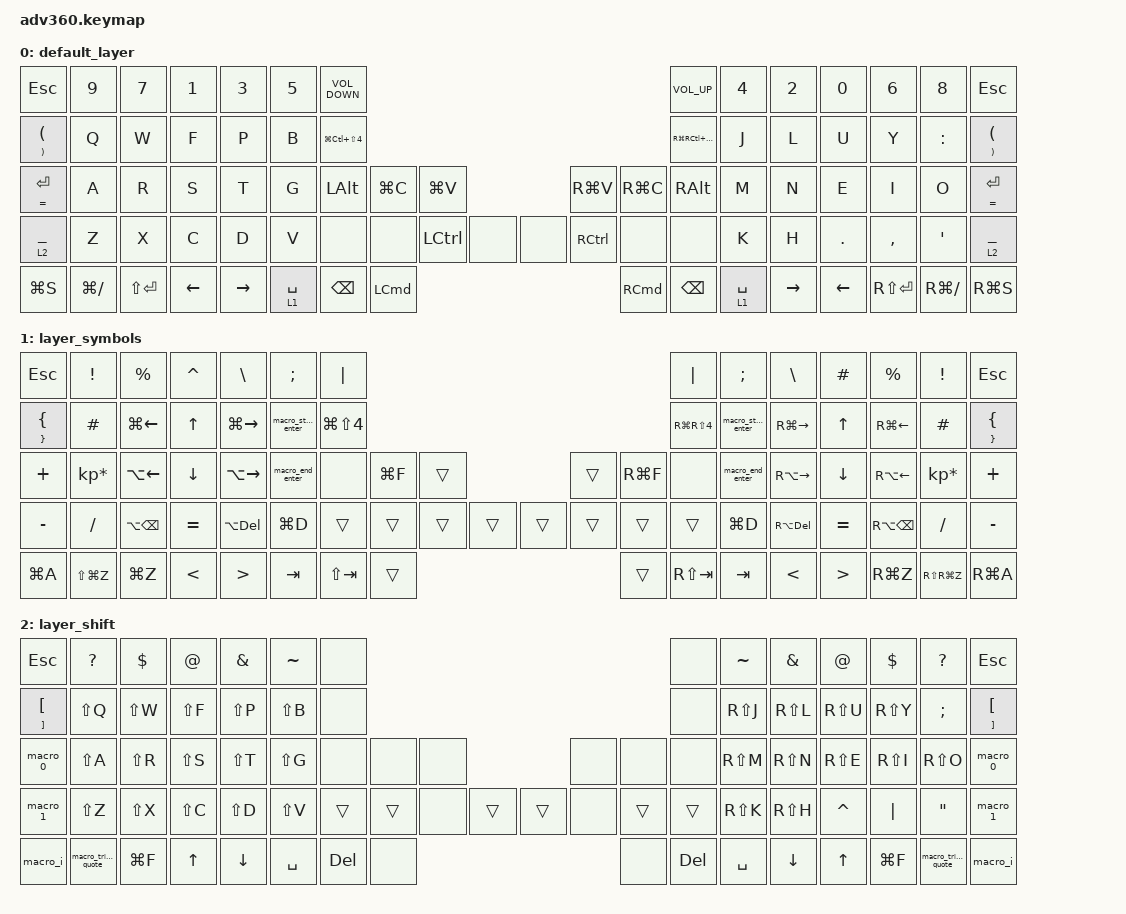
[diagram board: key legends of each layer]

/*
 * Copyright (c) 2020 The ZMK Contributors
 *
 * SPDX-License-Identifier: MIT
 */


/* THIS FILE WAS GENERATED!
 *
 * This file was generated automatically. You may or may not want to
 * edit it directly.
 */

#include <behaviors.dtsi>
#include <dt-bindings/zmk/keys.h>
#include <dt-bindings/zmk/bt.h>
#include <dt-bindings/zmk/rgb.h>
#include <dt-bindings/zmk/backlight.h>

/ {
  behaviors {
    #include "macros.dtsi"

    htl: hold_tap_layer {
         compatible = "zmk,behavior-hold-tap";
         label = "HOLD_TAP_LAYER";
         #binding-cells = <2>;
         tapping-term-ms = <150>;
         quick_tap_ms = <150>;
         flavor = "tap-preferred";
         bindings = <&mo>, <&kp>;
    };
    
    ht: hold_tap {
        compatible = "zmk,behavior-hold-tap";
        label = "HOLD_TAP";
        #binding-cells = <2>;
        tapping-term-ms = <150>;
        quick_tap_ms = <150>;
        flavor = "tap-preferred";
        bindings = <&kp>, <&kp>;
    };
  };

    keymap {
        compatible = "zmk,keymap";


        default_layer {
            bindings = <
                  &kp ESC                     &kp N9         &kp N7          &kp N1          &kp N3            &kp N5           &kp C_VOLUME_DOWN                                       &kp C_VOLUME_UP                     &kp N4    &kp N2            &kp N0            &kp N6         &kp N8             &kp ESC
                  &ht RPAR LPAR               &kp Q          &kp W           &kp F           &kp P             &kp B            &kp LG(LC(LS(NUMBER_4)))                                &kp RG(RC(RS(NUMBER_4)))            &kp J     &kp L             &kp U             &kp Y          &kp COLON          &ht RPAR LPAR
                  &ht EQUAL ENTER             &kp A          &kp R           &kp S           &kp T             &kp G            &kp LEFT_ALT   &kp LG(C) &kp LG(V) &kp RG(V) &kp RG(C)  &kp RIGHT_ALT                       &kp M     &kp N             &kp E             &kp I          &kp O              &ht EQUAL ENTER
                  &htl 2 UNDER                &kp Z          &kp X           &kp C           &kp D             &kp V                &none  &none  &kp LCTRL  &none &none  &kp RCTRL &none &none                             &kp K     &kp H             &kp DOT           &kp COMMA      &kp SINGLE_QUOTE   &htl 2 UNDER
                  &kp LG(S)                   &kp LG(SLASH)  &kp LS(ENTER)   &kp LEFT_ARROW  &kp RIGHT_ARROW             &lt 1 SPACE   &kp BACKSPACE  &kp LEFT_COMMAND  &kp RIGHT_COMMAND  &kp BACKSPACE  &lt 1 SPACE                 &kp RIGHT_ARROW   &kp LEFT_ARROW    &kp RS(ENTER)  &kp RG(SLASH)      &kp RG(S)
            >;
        };

        layer_symbols {
            bindings = <
                  &kp ESC          &kp EXCL         &kp PRCNT            &kp CARET            &kp BACKSLASH         &kp SEMICOLON                        &kp PIPE              &kp PIPE                   &kp SEMICOLON        &kp BACKSLASH        &kp HASH             &kp PERCENT         &kp EXCLAMATION  &kp ESC
                  &ht RBRC LBRC    &kp HASH         &kp LG(LEFT_ARROW)   &kp UP_ARROW         &kp LG(RIGHT_ARROW)   &macro_start_enter            &kp LG(LS(NUMBER_4))  &kp RG(RS(NUMBER_4))              &macro_start_enter   &kp RG(RIGHT_ARROW)  &kp UP_ARROW         &kp RG(LEFT_ARROW)  &kp HASH         &ht RBRC LBRC
                  &kp PLUS         &kp KP_MULTIPLY  &kp LA(LEFT_ARROW)   &kp DOWN_ARROW       &kp LA(RIGHT_ARROW)   &macro_end_enter         &none  &kp LG(F)   &trans  &trans  &kp RG(F)  &none          &macro_end_enter     &kp RA(RIGHT_ARROW)  &kp DOWN_ARROW       &kp RA(LEFT_ARROW)  &kp KP_MULTIPLY  &kp PLUS
                  &kp MINUS        &kp SLASH        &kp LA(BACKSPACE)    &kp EQUAL            &kp LA(DEL)           &kp LG(D)            &trans  &trans  &trans  &trans  &trans &trans &trans &trans      &kp LG(D)            &kp RA(DEL)          &kp EQUAL            &kp RA(BACKSPACE)   &kp SLASH        &kp MINUS
                  &kp LG(A)        &kp LS(LG(Z))    &kp LG(Z)            &kp LESS_THAN        &kp GREATER_THAN                           &kp TAB  &kp LS(TAB)  &trans   &trans &kp RS(TAB)  &kp TAB                            &kp LESS_THAN        &kp GREATER_THAN     &kp RG(Z)           &kp RS(RG(Z))    &kp RG(A)
            >;
        };

        layer_shift {
            bindings = <
                  &kp ESC           &kp QUESTION         &kp DOLLAR       &kp AT            &kp AMPS            &kp TILDE                              &none   &none                              &kp TILDE     &kp AMPS          &kp AT_SIGN       &kp DOLLAR           &kp QUESTION         &kp ESC
                  &ht RBKT LBKT     &kp LS(Q)            &kp LS(W)        &kp LS(F)         &kp LS(P)           &kp LS(B)                             &none   &none                               &kp RS(J)     &kp RS(L)         &kp RS(U)         &kp RS(Y)            &kp SEMICOLON        &ht RBKT LBKT
                  &macro_0          &kp LS(A)            &kp LS(R)        &kp LS(S)         &kp LS(T)           &kp LS(G)                   &none &none  &none  &none  &none &none                &kp RS(M)     &kp RS(N)         &kp RS(E)         &kp RS(I)            &kp RS(O)            &macro_0
                  &macro_1          &kp LS(Z)            &kp LS(X)        &kp LS(C)         &kp LS(D)           &kp LS(V)            &trans  &trans  &none  &trans  &trans &none  &trans &trans   &kp RS(K)     &kp RS(H)         &kp CARET         &kp PIPE             &kp DQT              &macro_1
                  &macro_i          &macro_triple_quote  &kp LG(F)        &kp UP_ARROW      &kp DOWN_ARROW                              &kp SPACE  &kp DEL  &none &none  &kp DEL   &kp SPACE                    &kp DOWN_ARROW    &kp UP_ARROW      &kp LG(F)            &macro_triple_quote  &macro_i
            >;
        };

    };
};
